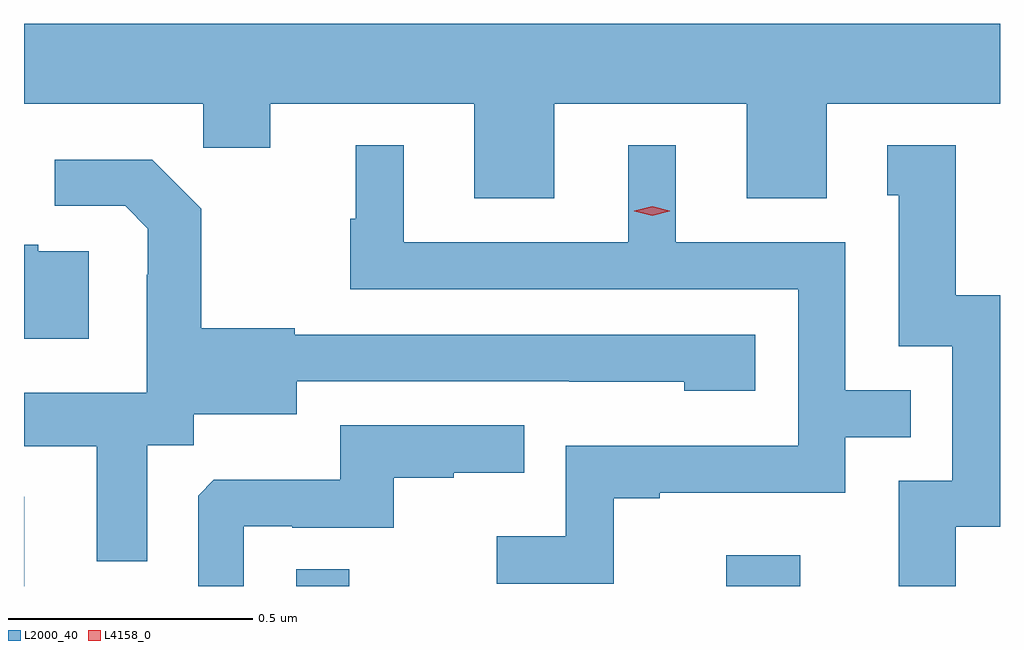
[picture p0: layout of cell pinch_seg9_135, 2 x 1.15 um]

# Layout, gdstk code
import gdstk
lib = gdstk.Library(unit=1e-6, precision=1e-09)
def R(c, l, rs):  # rectangles x0, y0, x1, y1
    for r in rs: c.add(gdstk.rectangle(r[:2], r[2:], *l))
def P(c, l, *ps):  # polygons
    for p in ps: c.add(gdstk.Polygon(p, *l))
L2000_40 = (2000, 40)
L4158_0 = (4158, 0)

pinch_seg9_135 = lib.new_cell('pinch_seg9_135')
R(pinch_seg9_135, L2000_40, [(786.108,1227.399,786.109,1227.583), (786.666,1227.399,786.775,1227.434), (787.547,1227.399,787.699,1227.463)])
P(pinch_seg9_135, L2000_40, [(787.195,1228.388),(787.589,1228.388),(787.589,1228.194),(787.753,1228.194),(787.753,1228.388),(788.108,1228.388),(788.108,1228.552),(786.108,1228.552),(786.108,1228.388),(786.475,1228.388),(786.475,1228.298),(786.613,1228.298),(786.613,1228.388),(787.031,1228.388),(787.031,1228.194),(787.195,1228.194)],
  [(788.017,1227.521),(788.108,1227.521),(788.108,1227.995),(788.017,1227.995),(788.017,1228.303),(787.877,1228.303),(787.877,1228.2),(787.901,1228.2),(787.901,1227.891),(788.01,1227.891),(788.01,1227.615),(787.901,1227.615),(787.901,1227.399),(788.017,1227.399)],
  [(787.317,1227.579),(787.411,1227.579),(787.411,1227.591),(787.791,1227.591),(787.791,1227.705),(787.925,1227.705),(787.925,1227.801),(787.791,1227.801),(787.791,1228.104),(787.444,1228.104),(787.444,1228.303),(787.346,1228.303),(787.346,1228.104),(786.886,1228.104),(786.886,1228.303),(786.788,1228.303),(786.788,1228.152),(786.777,1228.152),(786.777,1228.008),(787.695,1228.008),(787.695,1227.687),(787.218,1227.687),(787.218,1227.502),(787.077,1227.502),(787.077,1227.404),(787.317,1227.404)],
  [(786.361,1227.688),(786.456,1227.688),(786.456,1227.752),(786.667,1227.752),(786.667,1227.819),(787.225,1227.819),(787.225,1227.818),(787.461,1227.818),(787.461,1227.8),(787.606,1227.8),(787.606,1227.915),(786.663,1227.915),(786.663,1227.928),(786.471,1227.928),(786.471,1228.173),(786.371,1228.273),(786.171,1228.273),(786.171,1228.179),(786.315,1228.179),(786.362,1228.132),(786.362,1228.037),(786.36,1228.037),(786.36,1227.796),(786.108,1227.796),(786.108,1227.686),(786.257,1227.686),(786.257,1227.45),(786.361,1227.45)],
  [(786.241,1228.086),(786.137,1228.086),(786.137,1228.099),(786.108,1228.099),(786.108,1227.906),(786.241,1227.906)],
  [(786.558,1227.522),(786.658,1227.522),(786.658,1227.519),(786.866,1227.519),(786.866,1227.621),(786.989,1227.621),(786.989,1227.632),(787.133,1227.632),(787.133,1227.729),(786.756,1227.729),(786.756,1227.617),(786.497,1227.617),(786.465,1227.585),(786.465,1227.399),(786.558,1227.399)])
P(pinch_seg9_135, L4158_0, [(787.395,1228.158),(787.359,1228.168),(787.359,1228.168),(787.359,1228.169),(787.395,1228.178),(787.431,1228.169),(787.431,1228.168),(787.431,1228.168)])

lib.write_gds('pinch_seg9_135.gds')
